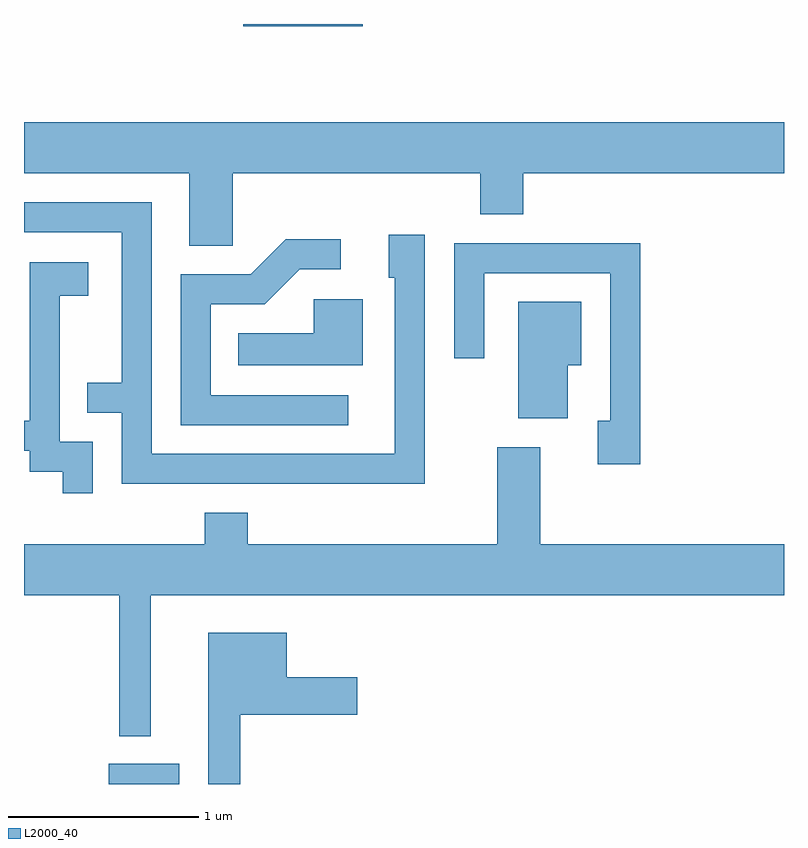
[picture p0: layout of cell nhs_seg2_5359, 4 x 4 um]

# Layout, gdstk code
import gdstk
lib = gdstk.Library(unit=1e-6, precision=1e-09)
def R(c, l, rs):  # rectangles x0, y0, x1, y1
    for r in rs: c.add(gdstk.rectangle(r[:2], r[2:], *l))
def P(c, l, *ps):  # polygons
    for p in ps: c.add(gdstk.Polygon(p, *l))
L2000_40 = (2000, 40)

nhs_seg2_5359 = lib.new_cell('nhs_seg2_5359')
R(nhs_seg2_5359, L2000_40, [(344.056,1011.802,344.429,1011.909), (344.766,1015.791,345.394,1015.802)])
P(nhs_seg2_5359, L2000_40, [(344.709,1015.016),(346.011,1015.016),(346.011,1014.801),(346.239,1014.801),(346.239,1015.016),(347.611,1015.016),(347.611,1015.284),(343.611,1015.284),(343.611,1015.016),(344.481,1015.016),(344.481,1014.636),(344.709,1014.636)],
  [(345.719,1014.694),(345.531,1014.694),(345.531,1014.466),(345.561,1014.466),(345.561,1013.539),(344.284,1013.539),(344.284,1014.864),(343.611,1014.864),(343.611,1014.706),(344.126,1014.706),(344.126,1013.914),(343.943,1013.914),(343.943,1013.756),(344.126,1013.756),(344.126,1013.381),(345.719,1013.381)],
  [(345.318,1013.849),(344.594,1013.849),(344.594,1014.326),(344.877,1014.326),(345.062,1014.511),(345.278,1014.511),(345.278,1014.669),(344.989,1014.669),(344.804,1014.484),(344.436,1014.484),(344.436,1013.691),(345.318,1013.691)],
  [(346.854,1014.649),(345.876,1014.649),(345.876,1014.043),(346.034,1014.043),(346.034,1014.491),(346.696,1014.491),(346.696,1013.714),(346.631,1013.714),(346.631,1013.486),(346.854,1013.486)],
  [(343.974,1013.604),(343.799,1013.604),(343.799,1014.371),(343.949,1014.371),(343.949,1014.549),(343.641,1014.549),(343.641,1013.714),(343.611,1013.714),(343.611,1013.556),(343.641,1013.556),(343.641,1013.446),(343.816,1013.446),(343.816,1013.333),(343.974,1013.333)],
  [(345.394,1014.354),(345.136,1014.354),(345.136,1014.174),(344.738,1014.174),(344.738,1014.006),(345.394,1014.006)],
  [(346.474,1014.006),(346.544,1014.006),(346.544,1014.339),(346.211,1014.339),(346.211,1013.726),(346.474,1013.726)],
  [(344.279,1012.796),(347.611,1012.796),(347.611,1013.064),(346.329,1013.064),(346.329,1013.574),(346.101,1013.574),(346.101,1013.064),(344.789,1013.064),(344.789,1013.229),(344.561,1013.229),(344.561,1013.064),(343.611,1013.064),(343.611,1012.796),(344.111,1012.796),(344.111,1012.053),(344.279,1012.053)],
  [(344.749,1012.166),(345.364,1012.166),(345.364,1012.364),(344.994,1012.364),(344.994,1012.599),(344.581,1012.599),(344.581,1011.802),(344.749,1011.802)])

lib.write_gds('nhs_seg2_5359.gds')
